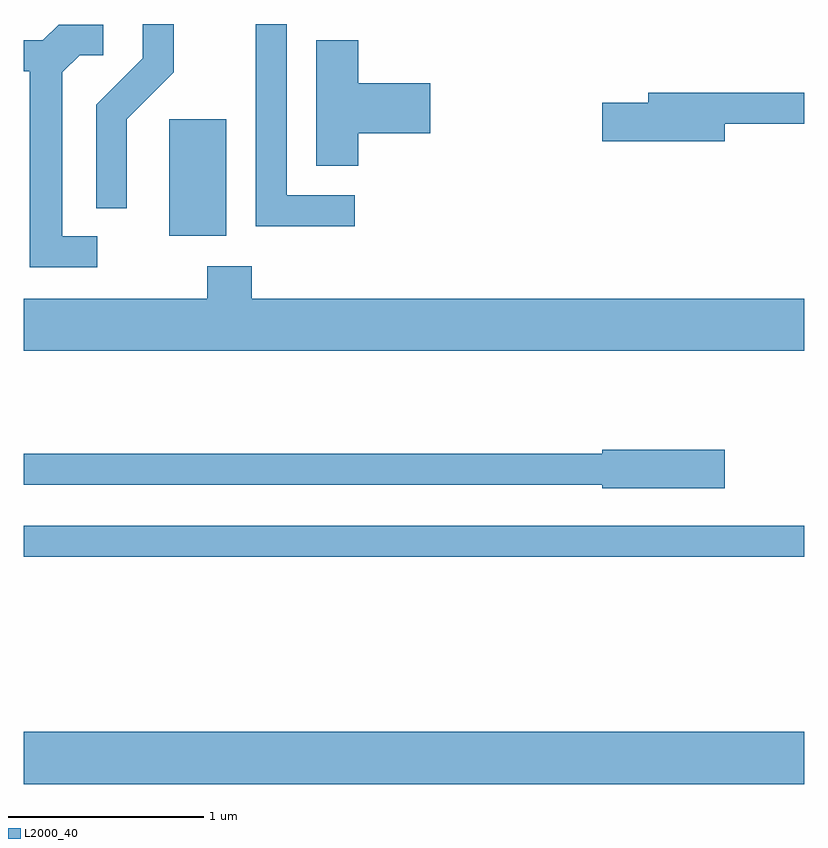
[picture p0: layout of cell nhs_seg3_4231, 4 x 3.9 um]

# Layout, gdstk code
import gdstk
lib = gdstk.Library(unit=1e-6, precision=1e-09)
def R(c, l, rs):  # rectangles x0, y0, x1, y1
    for r in rs: c.add(gdstk.rectangle(r[:2], r[2:], *l))
def P(c, l, *ps):  # polygons
    for p in ps: c.add(gdstk.Polygon(p, *l))
L2000_40 = (2000, 40)

nhs_seg3_4231 = lib.new_cell('nhs_seg3_4231')
R(nhs_seg3_4231, L2000_40, [(309.611,1145.996,313.611,1146.264), (309.611,1147.161,313.611,1147.319), (310.356,1148.806,310.649,1149.404)])
P(nhs_seg3_4231, L2000_40, [(310.139,1149.404),(310.379,1149.644),(310.379,1149.892),(310.221,1149.892),(310.221,1149.717),(309.981,1149.477),(309.981,1148.948),(310.139,1148.948)],
  [(311.308,1149.014),(310.959,1149.014),(310.959,1149.892),(310.801,1149.892),(310.801,1148.856),(311.308,1148.856)],
  [(309.988,1148.804),(309.809,1148.804),(309.809,1149.644),(309.897,1149.731),(310.018,1149.731),(310.018,1149.889),(309.789,1149.889),(309.709,1149.809),(309.611,1149.809),(309.611,1149.651),(309.641,1149.651),(309.641,1148.646),(309.988,1148.646)],
  [(311.324,1149.331),(311.694,1149.331),(311.694,1149.589),(311.324,1149.589),(311.324,1149.809),(311.111,1149.809),(311.111,1149.166),(311.324,1149.166)],
  [(313.204,1149.381),(313.611,1149.381),(313.611,1149.539),(312.811,1149.539),(312.811,1149.489),(312.576,1149.489),(312.576,1149.291),(313.204,1149.291)],
  [(313.611,1148.484),(310.779,1148.484),(310.779,1148.649),(310.551,1148.649),(310.551,1148.484),(309.611,1148.484),(309.611,1148.216),(313.611,1148.216)],
  [(313.204,1147.709),(312.576,1147.709),(312.576,1147.689),(309.611,1147.689),(309.611,1147.531),(312.576,1147.531),(312.576,1147.511),(313.204,1147.511)])

lib.write_gds('nhs_seg3_4231.gds')
